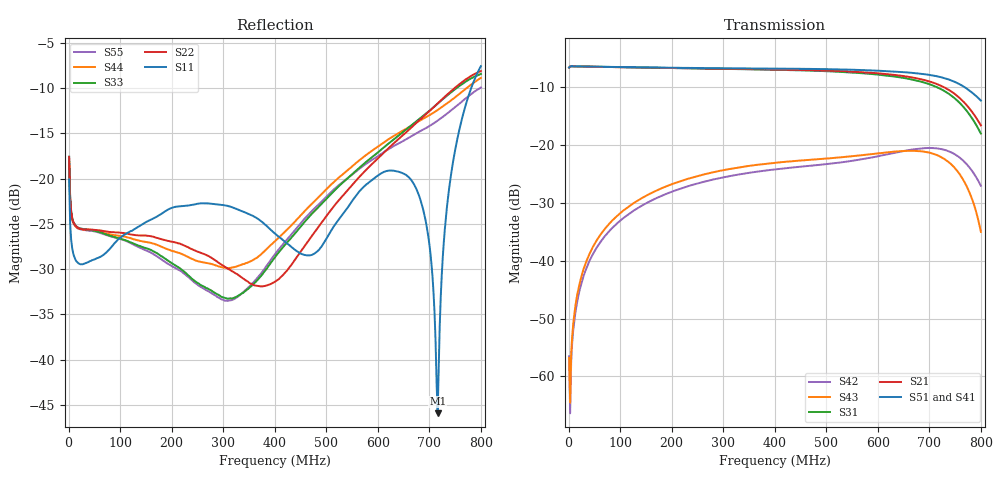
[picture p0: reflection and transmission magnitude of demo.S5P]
! Mini-Circuits
! S5P DATA File Format
! Type: 4 Way 0 degree Power Splitter
! Model: AD4PS-1+
! PINOUT: SUMPORT=PORT1 , OUT1 PORT=PORT2 , OUT2 PORT=PORT3 , OUT3 PORT=PORT4 , OUT4 PORT=PORT5
! TEST CONDITIONS: INPUT POWER = 0 dBm @ Temperature = + 25 deg C
! 401 Frequency points
! All S Parameters are in dB deg format
# MHz S DB R 50
!FREQ  MAG(S11)PHS(S11)MAG(S12)PHS(S12)MAG(S13)PHS(S13)MAG(S14)PHS(S14)MAG(S15)PHS(S15)
!	 MAG(S21)PHS(S21)MAG(S22)PHS(S22)MAG(S23)PHS(S23)MAG(S24)PHS(S24)MAG(S25)PHS(S25)
!	 MAG(S31)PHS(S31)MAG(S32)PHS(S32)MAG(S33)PHS(S33)MAG(S34)PHS(S34)MAG(S35)PHS(S35)
!	 MAG(S41)PHS(S41)MAG(S42)PHS(S42)MAG(S43)PHS(S43)MAG(S44)PHS(S44)MAG(S45)PHS(S45)
!	 MAG(S51)PHS(S51)MAG(S52)PHS(S52)MAG(S53)PHS(S53)MAG(S54)PHS(S54)MAG(S55)PHS(S55)
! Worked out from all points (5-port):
!   401 points, 1 MHz to 800 MHz, reference 50 ohm
!   strongest paths, dB at 1 MHz, 200.8 MHz, 400.5 MHz, 600.2 MHz, 800 MHz:
!     S51: -6.7, -6.7, -6.8, -7.2, -12.3
!     S41: -6.7, -6.7, -6.9, -7.4, -12.6
!     S21: -6.7, -6.7, -7.0, -7.6, -16.6
!     S31: -6.7, -6.7, -7.0, -7.9, -18.0
!     S43: -56.8, -26.8, -23.1, -21.5, -35.0
!     S42: -56.5, -28.1, -24.2, -22.0, -27.1
!   lowest |S11| = -45.9 dB at 716.1 MHz (marker M1), VSWR 1.01, Z = 49.6 - j0.233 ohm
!   |S11| at or under -10 dB: start of sweep to 781.3 MHz
